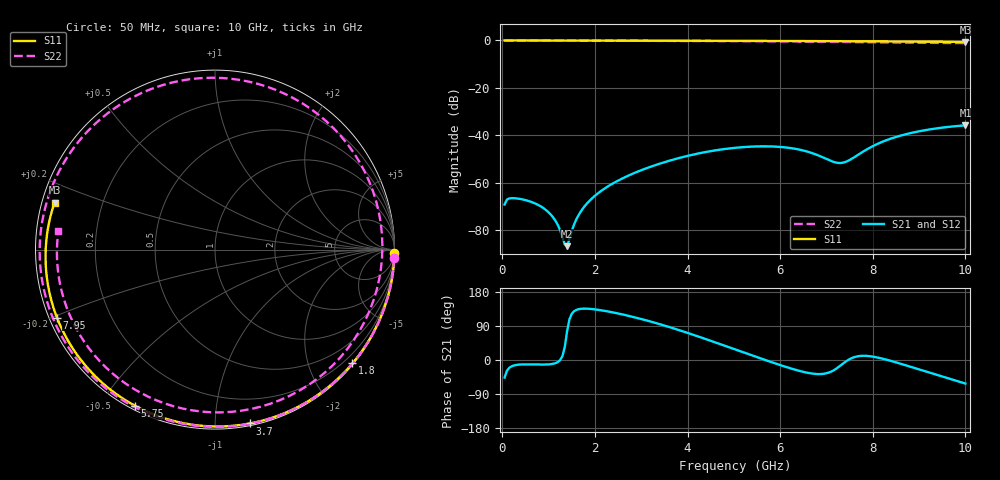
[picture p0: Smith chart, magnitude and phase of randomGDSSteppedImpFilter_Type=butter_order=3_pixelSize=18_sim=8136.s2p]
! freq	dB(S11)	phase(S11)	dB(S12)	phase(S12)
!  dB(S21)	phase(S21)	dB(S22)	phase(S22)
!S-par simulation data
#  GHz  S  DB  R 50
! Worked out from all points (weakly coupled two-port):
!   200 points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, 50 MHz to 10 GHz, reference 50 ohm
!   highest |S21| = -35.75 dB at 10 GHz (marker M1); lowest = -86.6 dB at 1.4 GHz (marker M2)
!   lowest |S11| = -0.6 dB at 10 GHz (marker M3), VSWR 28.30, Z = 1.8 + j7.17 ohm
!   |S11| at or under -10 dB: nowhere
!   |S22| runs from -1.1 to 0.0 dB; largest |S21 - S12| = 0
!   S11 on the Smith chart (normalised r, x): 50 MHz: open; 1.8 GHz: 0.03, -2.78; 3.7 GHz: 0.02, -1.22; 5.75 GHz: 0.02, -0.61; 7.95 GHz: 0.02, -0.21; 10 GHz: 0.04, +0.14
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0.05  -0.00 -1.1  -69.08 -46.3  -69.08 -46.3  -0.00 -2.7
0.2  -0.00 -4.5  -66.41 -16.7  -66.41 -16.7  -0.00 -10.6
0.7  -0.02 -15.6  -68.57 -11.8  -68.57 -11.8  -0.04 -36.8
1.05  -0.03 -23.4  -73.38 -11.0  -73.38 -11.0  -0.06 -54.4
1.25  -0.03 -27.7  -79.95 0.0  -79.95 0.0  -0.08 -64.2
1.4  -0.04 -31.0  -86.63 76.3  -86.63 76.3  -0.08 -71.4
1.5  -0.04 -33.2  -80.22 122.0  -80.22 122.0  -0.09 -76.1
1.75  -0.05 -38.5  -70.51 135.5  -70.51 135.5  -0.10 -87.6
1.8  -0.05 -39.6  -69.29 135.5  -69.29 135.5  -0.11 -89.9
2.4  -0.07 -52.3  -60.07 125.3  -60.07 125.3  -0.13 -116.1
3.4  -0.10 -72.7  -51.88 94.5  -51.88 94.5  -0.17 -156.9
3.7  -0.11 -78.6  -50.13 83.4  -50.13 83.4  -0.19 -169.0
4.4  -0.13 -92.1  -46.95 55.0  -46.95 55.0  -0.23 162.1
5.05  -0.16 -104.3  -45.17 27.0  -45.17 27.0  -0.29 132.8
5.75  -0.20 -117.1  -44.60 -3.1  -44.60 -3.1  -0.36 96.2
6.25  -0.23 -126.2  -45.38 -23.0  -45.38 -23.0  -0.44 65.7
6.7  -0.26 -134.2  -47.51 -35.9  -47.51 -35.9  -0.51 34.8
7.3  -0.31 -145.0  -51.61 -14.9  -51.61 -14.9  -0.63 -10.2
7.95  -0.37 -156.7  -45.03 9.8  -45.03 9.8  -0.77 -59.4
8.35  -0.41 -164.1  -41.60 -1.0  -41.60 -1.0  -0.84 -87.9
9.2  -0.51 179.8  -37.55 -32.4  -37.55 -32.4  -0.99 -141.8
10  -0.61 163.7  -35.75 -62.1  -35.75 -62.1  -1.12 173.2
